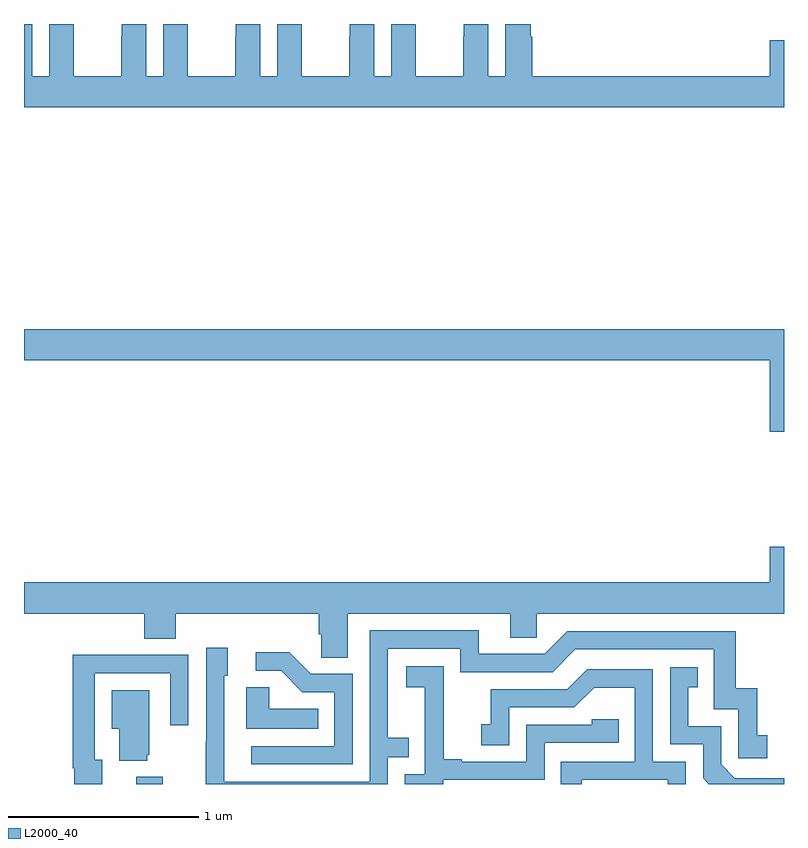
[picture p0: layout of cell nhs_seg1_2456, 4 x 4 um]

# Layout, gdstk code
import gdstk
lib = gdstk.Library(unit=1e-6, precision=1e-09)
def R(c, l, rs):  # rectangles x0, y0, x1, y1
    for r in rs: c.add(gdstk.rectangle(r[:2], r[2:], *l))
def P(c, l, *ps):  # polygons
    for p in ps: c.add(gdstk.Polygon(p, *l))
L2000_40 = (2000, 40)

nhs_seg1_2456 = lib.new_cell('nhs_seg1_2456')
R(nhs_seg1_2456, L2000_40, [(245.591,520.199,245.731,520.237)])
P(nhs_seg1_2456, L2000_40, [(249,524.113),(248.924,524.113),(248.924,523.924),(247.676,523.924),(247.676,524.132),(247.666,524.132),(247.666,524.199),(247.532,524.199),(247.532,523.924),(247.444,523.924),(247.444,524.199),(247.314,524.199),(247.314,524.132),(247.313,524.132),(247.313,523.924),(247.063,523.924),(247.063,524.132),(247.062,524.132),(247.062,524.199),(246.932,524.199),(246.932,523.924),(246.844,523.924),(246.844,524.199),(246.714,524.199),(246.714,524.132),(246.713,524.132),(246.713,523.924),(246.463,523.924),(246.463,524.132),(246.462,524.132),(246.462,524.199),(246.332,524.199),(246.332,523.924),(246.244,523.924),(246.244,524.199),(246.114,524.199),(246.114,524.132),(246.113,524.132),(246.113,523.924),(245.863,523.924),(245.863,524.132),(245.862,524.132),(245.862,524.199),(245.732,524.199),(245.732,523.924),(245.644,523.924),(245.644,524.199),(245.514,524.199),(245.514,524.132),(245.513,524.132),(245.513,523.924),(245.263,523.924),(245.263,524.132),(245.262,524.132),(245.262,524.199),(245.132,524.199),(245.132,523.924),(245.044,523.924),(245.044,524.199),(245,524.199),(245,523.76),(249,523.76)],
  [(249,522.592),(245,522.592),(245,522.428),(248.924,522.428),(248.924,522.054),(249,522.054)],
  [(246.703,521.096),(247.559,521.096),(247.559,520.969),(247.698,520.969),(247.698,521.096),(249,521.096),(249,521.449),(248.924,521.449),(248.924,521.26),(245,521.26),(245,521.096),(245.633,521.096),(245.633,520.963),(245.798,520.963),(245.798,521.096),(246.551,521.096),(246.551,520.987),(246.564,520.987),(246.564,520.864),(246.703,520.864)],
  [(246.915,520.341),(247.025,520.341),(247.025,520.442),(246.915,520.442),(246.915,520.911),(247.296,520.911),(247.296,520.788),(247.782,520.788),(247.902,520.908),(248.631,520.908),(248.631,520.593),(248.76,520.593),(248.76,520.335),(248.911,520.335),(248.911,520.455),(248.858,520.455),(248.858,520.702),(248.747,520.702),(248.747,521.004),(247.86,521.004),(247.74,520.884),(247.393,520.884),(247.393,521.007),(246.819,521.007),(246.819,520.212),(246.054,520.212),(246.054,520.77),(246.073,520.77),(246.073,520.915),(245.958,520.915),(245.958,520.421),(245.956,520.421),(245.956,520.199),(246.915,520.199)],
  [(246.729,520.779),(246.51,520.779),(246.397,520.892),(246.219,520.892),(246.219,520.794),(246.353,520.794),(246.464,520.683),(246.633,520.683),(246.633,520.398),(246.195,520.398),(246.195,520.302),(246.729,520.302)],
  [(245.413,520.326),(245.373,520.326),(245.373,520.782),(245.769,520.782),(245.769,520.509),(245.865,520.509),(245.865,520.878),(245.549,520.878),(245.549,520.88),(245.257,520.88),(245.257,520.282),(245.265,520.282),(245.265,520.199),(245.413,520.199)],
  [(247.206,520.221),(247.74,520.221),(247.74,520.416),(248.129,520.416),(248.129,520.539),(247.989,520.539),(247.989,520.512),(247.644,520.512),(247.644,520.317),(247.303,520.317),(247.303,520.33),(247.208,520.33),(247.208,520.613),(247.209,520.613),(247.209,520.819),(247.011,520.819),(247.011,520.709),(247.109,520.709),(247.109,520.481),(247.11,520.481),(247.11,520.251),(247.005,520.251),(247.005,520.199),(247.206,520.199)],
  [(249,520.23),(248.742,520.23),(248.67,520.302),(248.67,520.503),(248.497,520.503),(248.497,520.707),(248.546,520.707),(248.546,520.813),(248.4,520.813),(248.4,520.407),(248.574,520.407),(248.574,520.23),(248.605,520.199),(249,520.199)],
  [(247.936,520.221),(248.387,520.221),(248.387,520.199),(248.484,520.199),(248.484,520.317),(248.31,520.317),(248.31,520.803),(247.964,520.803),(247.859,520.698),(247.456,520.698),(247.456,520.513),(247.407,520.513),(247.407,520.404),(247.554,520.404),(247.554,520.602),(247.896,520.602),(248,520.706),(248.214,520.706),(248.214,520.317),(247.825,520.317),(247.825,520.199),(247.936,520.199)],
  [(246.548,520.594),(246.291,520.594),(246.291,520.709),(246.17,520.709),(246.17,520.49),(246.548,520.49)],
  [(245.648,520.353),(245.659,520.353),(245.659,520.693),(245.462,520.693),(245.462,520.49),(245.501,520.49),(245.501,520.322),(245.648,520.322)])

lib.write_gds('nhs_seg1_2456.gds')
